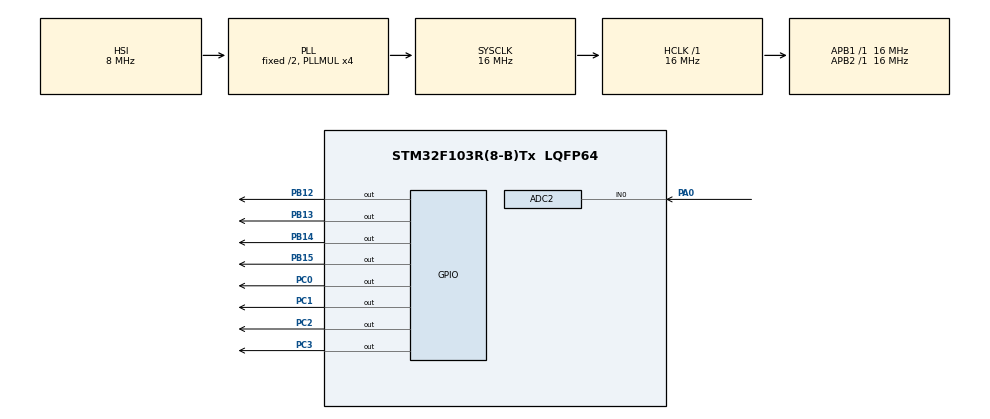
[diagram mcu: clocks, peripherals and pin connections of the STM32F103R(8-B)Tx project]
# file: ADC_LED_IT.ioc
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ADC2.Channel-0\#ChannelRegularConversion=ADC_CHANNEL_0
ADC2.ContinuousConvMode=ENABLE
ADC2.NbrOfConversionFlag=1
ADC2.Rank-0\#ChannelRegularConversion=1
ADC2.SamplingTime-0\#ChannelRegularConversion=ADC_SAMPLETIME_13CYCLES_5
Mcu.Family=STM32F1
Mcu.Name=STM32F103R(8-B)Tx
Mcu.Package=LQFP64
NVIC.ADC1_2_IRQn=true\:0\:0\:false\:false\:true\:true\:true\:true
NVIC.PriorityGroup=NVIC_PRIORITYGROUP_4
PA0-WKUP.Signal=ADCx_IN0
PB12.Signal=GPIO_Output
PB13.Signal=GPIO_Output
PB14.Signal=GPIO_Output
PB15.Signal=GPIO_Output
PC0.Signal=GPIO_Output
PC1.Signal=GPIO_Output
PC14-OSC32_IN.Mode=LSE-External-Oscillator
PC14-OSC32_IN.Signal=RCC_OSC32_IN
PC15-OSC32_OUT.Mode=LSE-External-Oscillator
PC15-OSC32_OUT.Signal=RCC_OSC32_OUT
PC2.Signal=GPIO_Output
PC3.Signal=GPIO_Output
PD0-OSC_IN.Mode=HSE-External-Clock-Source
PD0-OSC_IN.Signal=RCC_OSC_IN
PD1-OSC_OUT.Mode=HSE-External-Clock-Source
PD1-OSC_OUT.Signal=RCC_OSC_OUT
ProjectManager.HeapSize=0x200
ProjectManager.StackSize=0x400
ProjectManager.TargetToolchain=STM32CubeIDE
RCC.AHBFreq_Value=16000000
RCC.APB1Freq_Value=16000000
RCC.APB1TimFreq_Value=16000000
RCC.APB2Freq_Value=16000000
RCC.APB2TimFreq_Value=16000000
RCC.HCLKFreq_Value=16000000
RCC.PLLMUL=RCC_PLL_MUL4
RCC.SYSCLKFreq_VALUE=16000000
RCC.SYSCLKSource=RCC_SYSCLKSOURCE_PLLCLK
RCC.USBFreq_Value=16000000
SH.ADCx_IN0.0=ADC2_IN0,IN0
board=custom

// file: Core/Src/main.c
/* USER CODE BEGIN Header */
/**
  ******************************************************************************
  * @file           : main.c
  * @brief          : Main program body
  ******************************************************************************
  * @attention
  *
  * Copyright (c) 2023 STMicroelectronics.
  * All rights reserved.
  *
  * This software is licensed under terms that can be found in the LICENSE file
  * in the root directory of this software component.
  * If no LICENSE file comes with this software, it is provided AS-IS.
  *
  ******************************************************************************
  */
/* USER CODE END Header */
#include "main.h"

/* USER CODE BEGIN Includes */
#include "stdio.h"
/* USER CODE END Includes */

/* USER CODE BEGIN PD */

#define ADC_MAX		4096
#define CDS_FACTOR		2.2
#define BASE_R			10
#define CDS_R_10LX		3 					// 주변 환경에 따라 변경 필요
#define CDS_R_3LX		CDS_R_10LX * CDS_FACTOR
#define CDS_R_1LX		CDS_R_3LX * CDS_FACTOR
#define CDS_R_0_3LX		CDS_R_1LX * CDS_FACTOR
#define CDS_R_0_1LX		CDS_R_0_3LX * CDS_FACTOR
#define CDS_R_0_03LX		CDS_R_0_1LX * CDS_FACTOR
#define CDS_R_0_01LX		CDS_R_0_03LX * CDS_FACTOR
#define CDS_R_0_003LX	CDS_R_0_01LX * CDS_FACTOR
#define ADC_10LX		(ADC_MAX * BASE_R) / (CDS_R_10LX + BASE_R)
#define ADC_3LX			(ADC_MAX * BASE_R) / (CDS_R_3LX + BASE_R)
#define ADC_1LX			(ADC_MAX * BASE_R) / (CDS_R_1LX + BASE_R)
#define ADC_0_3LX		(ADC_MAX * BASE_R) / (CDS_R_0_3LX + BASE_R)
#define ADC_0_1LX		(ADC_MAX * BASE_R) / (CDS_R_0_1LX + BASE_R)
#define ADC_0_03LX		(ADC_MAX * BASE_R) / (CDS_R_0_03LX + BASE_R)
#define ADC_0_01LX		(ADC_MAX * BASE_R) / (CDS_R_0_01LX + BASE_R)
#define ADC_0_003LX		(ADC_MAX * BASE_R) / (CDS_R_0_003LX + BASE_R)

/* USER CODE END PD */

ADC_HandleTypeDef hadc2;

/* USER CODE BEGIN PV */
int adc_value;

/* USER CODE END PV */

void SystemClock_Config(void);
static void MX_GPIO_Init(void);
static void MX_ADC2_Init(void);

/* USER CODE BEGIN 0 */
typedef struct led {
  GPIO_TypeDef *port;
  uint16_t pin;
   } LED;
LED led[8] = {
  {GPIOC, GPIO_PIN_3},   {GPIOC, GPIO_PIN_2},
  {GPIOC, GPIO_PIN_1},   {GPIOC, GPIO_PIN_0},
  {GPIOB, GPIO_PIN_15},   {GPIOB, GPIO_PIN_14},
  {GPIOB, GPIO_PIN_13},   {GPIOB, GPIO_PIN_12},
};
void led_on() {
  for(uint8_t i=0; i < 8; i++) {
    HAL_GPIO_WritePin(led[i].port, led[i].pin, 1);
  }
}
void led_off() {
  for(uint8_t i=0; i < 8; i++) {
    HAL_GPIO_WritePin(led[i].port, led[i].pin, 0);
  }
}

/* USER CODE END 0 */

int main(void)
{

  /* MCU Configuration--------------------------------------------------------*/

  /* Reset of all peripherals, Initializes the Flash interface and the Systick. */
  HAL_Init();

  /* Configure the system clock */
  SystemClock_Config();

  /* Initialize all configured peripherals */
  MX_GPIO_Init();
  MX_ADC2_Init();
  /* USER CODE BEGIN 2 */
  HAL_ADCEx_Calibration_Start(&hadc2);
  HAL_ADC_Start_IT(&hadc2);
  /* USER CODE END 2 */

  /* Infinite loop */
  while (1)
  {

  }
}

void SystemClock_Config(void)
{
  RCC_OscInitTypeDef RCC_OscInitStruct = {0};
  RCC_ClkInitTypeDef RCC_ClkInitStruct = {0};
  RCC_PeriphCLKInitTypeDef PeriphClkInit = {0};

  /** Initializes the RCC Oscillators according to the specified parameters
  * in the RCC_OscInitTypeDef structure.
  */
  RCC_OscInitStruct.OscillatorType = RCC_OSCILLATORTYPE_HSI;
  RCC_OscInitStruct.HSIState = RCC_HSI_ON;
  RCC_OscInitStruct.HSICalibrationValue = RCC_HSICALIBRATION_DEFAULT;
  RCC_OscInitStruct.PLL.PLLState = RCC_PLL_ON;
  RCC_OscInitStruct.PLL.PLLSource = RCC_PLLSOURCE_HSI_DIV2;
  RCC_OscInitStruct.PLL.PLLMUL = RCC_PLL_MUL4;
  if (HAL_RCC_OscConfig(&RCC_OscInitStruct) != HAL_OK)
  {
    Error_Handler();
  }

  /** Initializes the CPU, AHB and APB buses clocks
  */
  RCC_ClkInitStruct.ClockType = RCC_CLOCKTYPE_HCLK|RCC_CLOCKTYPE_SYSCLK
                              |RCC_CLOCKTYPE_PCLK1|RCC_CLOCKTYPE_PCLK2;
  RCC_ClkInitStruct.SYSCLKSource = RCC_SYSCLKSOURCE_PLLCLK;
  RCC_ClkInitStruct.AHBCLKDivider = RCC_SYSCLK_DIV1;
  RCC_ClkInitStruct.APB1CLKDivider = RCC_HCLK_DIV1;
  RCC_ClkInitStruct.APB2CLKDivider = RCC_HCLK_DIV1;

  if (HAL_RCC_ClockConfig(&RCC_ClkInitStruct, FLASH_LATENCY_0) != HAL_OK)
  {
    Error_Handler();
  }
  PeriphClkInit.PeriphClockSelection = RCC_PERIPHCLK_ADC;
  PeriphClkInit.AdcClockSelection = RCC_ADCPCLK2_DIV2;
  if (HAL_RCCEx_PeriphCLKConfig(&PeriphClkInit) != HAL_OK)
  {
    Error_Handler();
  }
}

static void MX_ADC2_Init(void)
{

  ADC_ChannelConfTypeDef sConfig = {0};

  /** Common config
  */
  hadc2.Instance = ADC2;
  hadc2.Init.ScanConvMode = ADC_SCAN_DISABLE;
  hadc2.Init.ContinuousConvMode = ENABLE;
  hadc2.Init.DiscontinuousConvMode = DISABLE;
  hadc2.Init.ExternalTrigConv = ADC_SOFTWARE_START;
  hadc2.Init.DataAlign = ADC_DATAALIGN_RIGHT;
  hadc2.Init.NbrOfConversion = 1;
  if (HAL_ADC_Init(&hadc2) != HAL_OK)
  {
    Error_Handler();
  }

  /** Configure Regular Channel
  */
  sConfig.Channel = ADC_CHANNEL_0;
  sConfig.Rank = ADC_REGULAR_RANK_1;
  sConfig.SamplingTime = ADC_SAMPLETIME_13CYCLES_5;
  if (HAL_ADC_ConfigChannel(&hadc2, &sConfig) != HAL_OK)
  {
    Error_Handler();
  }

}

static void MX_GPIO_Init(void)
{
  GPIO_InitTypeDef GPIO_InitStruct = {0};

  /* GPIO Ports Clock Enable */
  __HAL_RCC_GPIOC_CLK_ENABLE();
  __HAL_RCC_GPIOD_CLK_ENABLE();
  __HAL_RCC_GPIOA_CLK_ENABLE();
  __HAL_RCC_GPIOB_CLK_ENABLE();

  /*Configure GPIO pin Output Level */
  HAL_GPIO_WritePin(GPIOC, GPIO_PIN_0|GPIO_PIN_1|GPIO_PIN_2|GPIO_PIN_3, GPIO_PIN_RESET);

  /*Configure GPIO pin Output Level */
  HAL_GPIO_WritePin(GPIOB, GPIO_PIN_12|GPIO_PIN_13|GPIO_PIN_14|GPIO_PIN_15, GPIO_PIN_RESET);

  /*Configure GPIO pins : PC0 PC1 PC2 PC3 */
  GPIO_InitStruct.Pin = GPIO_PIN_0|GPIO_PIN_1|GPIO_PIN_2|GPIO_PIN_3;
  GPIO_InitStruct.Mode = GPIO_MODE_OUTPUT_PP;
  GPIO_InitStruct.Pull = GPIO_NOPULL;
  GPIO_InitStruct.Speed = GPIO_SPEED_FREQ_LOW;
  HAL_GPIO_Init(GPIOC, &GPIO_InitStruct);

  /*Configure GPIO pins : PB12 PB13 PB14 PB15 */
  GPIO_InitStruct.Pin = GPIO_PIN_12|GPIO_PIN_13|GPIO_PIN_14|GPIO_PIN_15;
  GPIO_InitStruct.Mode = GPIO_MODE_OUTPUT_PP;
  GPIO_InitStruct.Pull = GPIO_NOPULL;
  GPIO_InitStruct.Speed = GPIO_SPEED_FREQ_LOW;
  HAL_GPIO_Init(GPIOB, &GPIO_InitStruct);

}

/* USER CODE BEGIN 4 */
void HAL_ADC_ConvCpltCallback(ADC_HandleTypeDef *hadc){
	adc_value = HAL_ADC_GetValue(&hadc2);

	if(hadc == &hadc2){
		if(adc_value < 2000){
			led_on();
		}
		else{
			led_off();
		}
	}
}
/* USER CODE END 4 */

void Error_Handler(void)
{
  __disable_irq();
  while (1)
  {
  }
}
